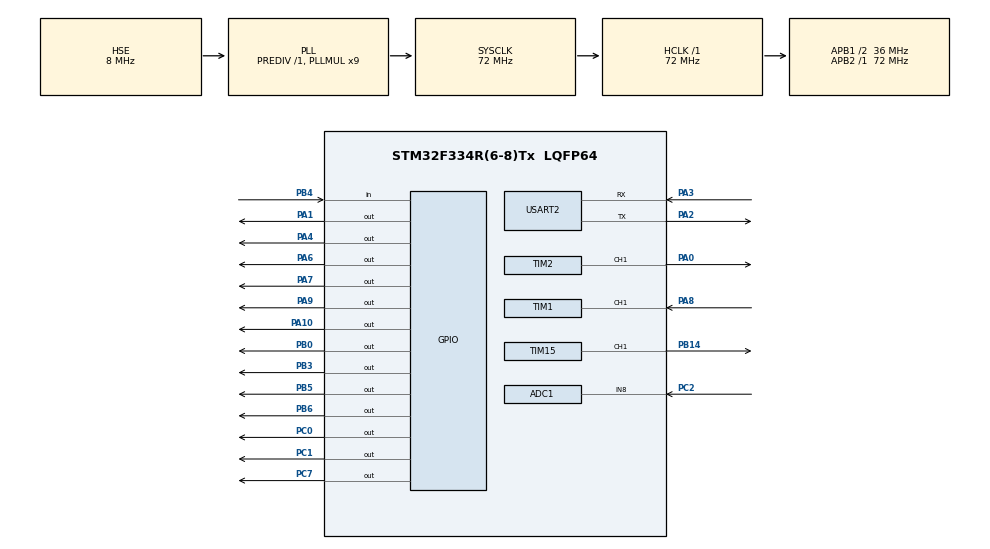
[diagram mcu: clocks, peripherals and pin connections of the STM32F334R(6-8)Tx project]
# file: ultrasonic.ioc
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ADC1.Channel-0\#ChannelRegularConversion=ADC_CHANNEL_8
ADC1.NbrOfConversionFlag=1
ADC1.Offset-0\#ChannelRegularConversion=0
ADC1.OffsetNumber-0\#ChannelRegularConversion=ADC_OFFSET_NONE
ADC1.Rank-0\#ChannelRegularConversion=1
ADC1.Resolution=ADC_RESOLUTION_6B
ADC1.SamplingTime-0\#ChannelRegularConversion=ADC_SAMPLETIME_1CYCLE_5
ADC1.SamplingTimeOPAMP-0\#ChannelRegularConversion=ADC_SAMPLETIME_61CYCLES_5
ADC1.SubFamily=STM32F334x8
ADC1.master=1
Mcu.Family=STM32F3
Mcu.Name=STM32F334R(6-8)Tx
Mcu.Package=LQFP64
NVIC.PriorityGroup=NVIC_PRIORITYGROUP_4
NVIC.TIM1_CC_IRQn=true\:0\:0\:false\:false\:true\:true\:true\:true
PA0.Signal=S_TIM2_CH1_ETR
PA1.Signal=GPIO_Output
PA10.Signal=GPIO_Output
PA13.Mode=Serial_Wire
PA13.Signal=SYS_JTMS-SWDIO
PA14.Mode=Serial_Wire
PA14.Signal=SYS_JTCK-SWCLK
PA2.Mode=Asynchronous
PA2.Signal=USART2_TX
PA3.Mode=Asynchronous
PA3.Signal=USART2_RX
PA4.Signal=GPIO_Output
PA6.Signal=GPIO_Output
PA7.Signal=GPIO_Output
PA8.Signal=S_TIM1_CH1
PA9.Signal=GPIO_Output
PB0.Signal=GPIO_Output
PB14.Signal=S_TIM15_CH1
PB3.Signal=GPIO_Output
PB4.Signal=GPIO_Input
PB5.Signal=GPIO_Output
PB6.Signal=GPIO_Output
PC0.Signal=GPIO_Output
PC1.Signal=GPIO_Output
PC2.Signal=ADCx_IN8
PC7.Signal=GPIO_Output
PF0\ /\ OSC_IN.Mode=HSE-External-Oscillator
PF0\ /\ OSC_IN.Signal=RCC_OSC_IN
PF1\ /\ OSC_OUT.Mode=HSE-External-Oscillator
PF1\ /\ OSC_OUT.Signal=RCC_OSC_OUT
ProjectManager.HeapSize=0x200
ProjectManager.StackSize=0x400
ProjectManager.TargetToolchain=STM32CubeIDE
RCC.AHBFreq_Value=72000000
RCC.APB1CLKDivider=RCC_HCLK_DIV2
RCC.APB1Freq_Value=36000000
RCC.APB1TimFreq_Value=72000000
RCC.APB2Freq_Value=72000000
RCC.APB2TimFreq_Value=72000000
RCC.CortexFreq_Value=72000000
RCC.HCLKFreq_Value=72000000
RCC.HSE_VALUE=8000000
RCC.HSI_VALUE=8000000
RCC.LSE_VALUE=32768
RCC.PLLMUL=RCC_PLL_MUL9
RCC.PLLSourceVirtual=RCC_PLLSOURCE_HSE
RCC.SYSCLKFreq_VALUE=72000000
RCC.SYSCLKSourceVirtual=RCC_SYSCLKSOURCE_PLLCLK
SH.ADCx_IN8.0=ADC1_IN8,IN8-Single-Ended
SH.S_TIM15_CH1.0=TIM15_CH1,PWM Generation1 CH1
SH.S_TIM1_CH1.0=TIM1_CH1,Input_Capture1_from_TI1
SH.S_TIM2_CH1_ETR.0=TIM2_CH1,PWM Generation1 CH1
TIM1.Channel-Input_Capture1_from_TI1=TIM_CHANNEL_1
TIM1.Prescaler=72-1
TIM15.Channel-PWM\ Generation1\ CH1=TIM_CHANNEL_1
TIM15.Period=16
TIM15.Prescaler=1
TIM2.Channel-PWM\ Generation1\ CH1=TIM_CHANNEL_1
TIM2.Period=2000
TIM2.Prescaler=1440
USART2.VirtualMode-Asynchronous=VM_ASYNC
VP_TIM15_VS_ClockSourceINT.Mode=Internal
VP_TIM2_VS_ClockSourceINT.Mode=Internal
board=custom

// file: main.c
/* USER CODE BEGIN Header */
/**
  ******************************************************************************
  * @file           : main.c
  * @brief          : Main program body
  ******************************************************************************
  * @attention
  *
  * Copyright (c) 2023 STMicroelectronics.
  * All rights reserved.
  *
  * This software is licensed under terms that can be found in the LICENSE file
  * in the root directory of this software component.
  * If no LICENSE file comes with this software, it is provided AS-IS.
  *
  ******************************************************************************
  */
/* USER CODE END Header */
#include "main.h"

/* USER CODE BEGIN PD */
#define A GPIOA
#define B GPIOB
#define C GPIOC

#define R_F GPIO_PIN_7 // PA7
#define R_B GPIO_PIN_6 // PA6

#define L_F GPIO_PIN_6	//PB6
#define L_B GPIO_PIN_7 //PC7

#define IR1 GPIO_PIN_10 //PB10
#define IR2 GPIO_PIN_4 //PB4

#define servo GPIO_PIN_0 //PA0

#define LED1L GPIO_PIN_1 //PA1
#define LED2L GPIO_PIN_4 //PA4
#define LED3L GPIO_PIN_0 //PB0
#define LED4L GPIO_PIN_1 //PC1

#define LED1R GPIO_PIN_5 //PC5
#define LED2R GPIO_PIN_3 //PB3
#define LED3R GPIO_PIN_10 //PA10
#define LED4R GPIO_PIN_0 //PC0

#define LDR GPIO_PIN_2 //pc2
/* USER CODE END PD */

ADC_HandleTypeDef hadc1;

TIM_HandleTypeDef htim1;
TIM_HandleTypeDef htim2;
TIM_HandleTypeDef htim15;

UART_HandleTypeDef huart2;

/* USER CODE BEGIN PV */
uint16_t lux=0;
char msg[20];
uint8_t IR_L,IR_R;
int i, distance_L, distance_R;
/* USER CODE END PV */

void SystemClock_Config(void);
static void MX_GPIO_Init(void);
static void MX_TIM1_Init(void);
static void MX_USART2_UART_Init(void);
static void MX_TIM2_Init(void);
static void MX_ADC1_Init(void);
static void MX_TIM15_Init(void);

/* USER CODE BEGIN 0 */
//void data(void){
//	uint8_t data=0;
//	HAL_UART_Transmit(&huart2, data, sizeof(data), 50);
//}

void delay(uint8_t time)
{
	__HAL_TIM_SET_COUNTER(&htim1, 0);
	while(__HAL_TIM_GET_COUNTER(&htim1) < time);
}

uint32_t IC_Val1 = 0;
uint32_t IC_Val2 = 0;
uint32_t Difference = 0;
uint8_t Is_First_Captured = 0;  // is the first value captured ?
uint8_t Distance  = 0;

#define TRIG_PIN GPIO_PIN_9
#define TRIG_PORT GPIOA

// Let's write the callback function

void HAL_TIM_IC_CaptureCallback(TIM_HandleTypeDef *htim)
{
	if (htim->Channel == HAL_TIM_ACTIVE_CHANNEL_1)  // if the interrupt source is channel1
	{
		if (Is_First_Captured==0) // if the first value is not captured
		{
			IC_Val1 = HAL_TIM_ReadCapturedValue(htim, TIM_CHANNEL_1); // read the first value
			Is_First_Captured = 1;  // set the first captured as true
			// Now change the polarity to falling edge
			__HAL_TIM_SET_CAPTUREPOLARITY(htim, TIM_CHANNEL_1, TIM_INPUTCHANNELPOLARITY_FALLING);

		}

		else if (Is_First_Captured==1)   // if the first is already captured
		{
			IC_Val2 = HAL_TIM_ReadCapturedValue(htim, TIM_CHANNEL_1);  // read second value
			__HAL_TIM_SET_COUNTER(htim, 0);  // reset the counter

			if (IC_Val2 > IC_Val1)
			{
				Difference = IC_Val2-IC_Val1;
			}

			else if (IC_Val1 > IC_Val2)
			{
				Difference = (0xffff - IC_Val1) + IC_Val2;
			}

			Distance = Difference * .034/2;
			Is_First_Captured = 0; // set it back to false

			// set polarity to rising edge
			__HAL_TIM_SET_CAPTUREPOLARITY(htim, TIM_CHANNEL_1, TIM_INPUTCHANNELPOLARITY_RISING);
			__HAL_TIM_DISABLE_IT(&htim1, TIM_IT_CC1);
		}
	}
}

void HCSR04_Read (void)
{
	HAL_GPIO_WritePin(TRIG_PORT, TRIG_PIN, GPIO_PIN_SET);  // pull the TRIG pin HIGH
	delay(10);  // wait for 10 us
	HAL_GPIO_WritePin(TRIG_PORT, TRIG_PIN, GPIO_PIN_RESET);  // pull the TRIG pin low

	__HAL_TIM_ENABLE_IT(&htim1, TIM_IT_CC1);
}

/* USER CODE END 0 */

int main(void)
{
  /* USER CODE BEGIN 1 */
	//htim2.Instance->CCR1 = 72;
  /* USER CODE END 1 */

  /* MCU Configuration--------------------------------------------------------*/

  /* Reset of all peripherals, Initializes the Flash interface and the Systick. */
  HAL_Init();

  /* Configure the system clock */
  SystemClock_Config();

  /* Initialize all configured peripherals */
  MX_GPIO_Init();
  MX_TIM1_Init();
  MX_USART2_UART_Init();
  MX_TIM2_Init();
  MX_ADC1_Init();
  MX_TIM15_Init();
  /* USER CODE BEGIN 2 */

  HAL_TIM_IC_Start_IT(&htim1, TIM_CHANNEL_1);
  HAL_TIM_PWM_Start(&htim2, TIM_CHANNEL_1);
  HAL_TIM_PWM_Start(&htim15, TIM_CHANNEL_1);
  /* USER CODE END 2 */

  /* Infinite loop */
  while (1)
  {

    /* USER CODE BEGIN 3 */
	  HCSR04_Read();
	  HAL_ADC_Start(&hadc1);
 	  HAL_ADC_PollForConversion(&hadc1, 20);
 	  lux = HAL_ADC_GetValue(&hadc1);
	  IR_L=HAL_GPIO_ReadPin(B, IR1);
	  IR_R=HAL_GPIO_ReadPin(B, IR2);
 	  __HAL_TIM_SET_COMPARE(&htim15, TIM_CHANNEL_1,lux);

	  if((IR_L==0)&&(IR_R==0)){
		  if(Distance>10){
			  front();
		  }else{
			  checkside();
		  }
	  }else if((IR_L==1)&&(IR_R==0)){
		  if(Distance>10){
		 			  left();
		 		  }else{
		 			 checkside();
		 		  }
	  }else if((IR_L==0)&&(IR_R==1)){
		  if(Distance>10){
		 			  right();
		 		  }else{
		 			 checkside();
		 		  }
	  }

	  sprintf(msg, "%d\r\n", lux);
	  HAL_UART_Transmit(&huart2, (uint8_t *)msg, sizeof(msg), 50);
	  HAL_Delay(200);
  }
  /* USER CODE END 3 */
}

void SystemClock_Config(void)
{
  RCC_OscInitTypeDef RCC_OscInitStruct = {0};
  RCC_ClkInitTypeDef RCC_ClkInitStruct = {0};
  RCC_PeriphCLKInitTypeDef PeriphClkInit = {0};

  /** Initializes the RCC Oscillators according to the specified parameters
  * in the RCC_OscInitTypeDef structure.
  */
  RCC_OscInitStruct.OscillatorType = RCC_OSCILLATORTYPE_HSE;
  RCC_OscInitStruct.HSEState = RCC_HSE_ON;
  RCC_OscInitStruct.HSEPredivValue = RCC_HSE_PREDIV_DIV1;
  RCC_OscInitStruct.HSIState = RCC_HSI_ON;
  RCC_OscInitStruct.PLL.PLLState = RCC_PLL_ON;
  RCC_OscInitStruct.PLL.PLLSource = RCC_PLLSOURCE_HSE;
  RCC_OscInitStruct.PLL.PLLMUL = RCC_PLL_MUL9;
  if (HAL_RCC_OscConfig(&RCC_OscInitStruct) != HAL_OK)
  {
    Error_Handler();
  }

  /** Initializes the CPU, AHB and APB buses clocks
  */
  RCC_ClkInitStruct.ClockType = RCC_CLOCKTYPE_HCLK|RCC_CLOCKTYPE_SYSCLK
                              |RCC_CLOCKTYPE_PCLK1|RCC_CLOCKTYPE_PCLK2;
  RCC_ClkInitStruct.SYSCLKSource = RCC_SYSCLKSOURCE_PLLCLK;
  RCC_ClkInitStruct.AHBCLKDivider = RCC_SYSCLK_DIV1;
  RCC_ClkInitStruct.APB1CLKDivider = RCC_HCLK_DIV2;
  RCC_ClkInitStruct.APB2CLKDivider = RCC_HCLK_DIV1;

  if (HAL_RCC_ClockConfig(&RCC_ClkInitStruct, FLASH_LATENCY_2) != HAL_OK)
  {
    Error_Handler();
  }
  PeriphClkInit.PeriphClockSelection = RCC_PERIPHCLK_TIM1|RCC_PERIPHCLK_ADC12;
  PeriphClkInit.Adc12ClockSelection = RCC_ADC12PLLCLK_DIV1;
  PeriphClkInit.Tim1ClockSelection = RCC_TIM1CLK_HCLK;
  if (HAL_RCCEx_PeriphCLKConfig(&PeriphClkInit) != HAL_OK)
  {
    Error_Handler();
  }
}

static void MX_ADC1_Init(void)
{

  ADC_MultiModeTypeDef multimode = {0};
  ADC_ChannelConfTypeDef sConfig = {0};

  /** Common config
  */
  hadc1.Instance = ADC1;
  hadc1.Init.ClockPrescaler = ADC_CLOCK_ASYNC_DIV1;
  hadc1.Init.Resolution = ADC_RESOLUTION_6B;
  hadc1.Init.ScanConvMode = ADC_SCAN_DISABLE;
  hadc1.Init.ContinuousConvMode = DISABLE;
  hadc1.Init.DiscontinuousConvMode = DISABLE;
  hadc1.Init.ExternalTrigConvEdge = ADC_EXTERNALTRIGCONVEDGE_NONE;
  hadc1.Init.ExternalTrigConv = ADC_SOFTWARE_START;
  hadc1.Init.DataAlign = ADC_DATAALIGN_RIGHT;
  hadc1.Init.NbrOfConversion = 1;
  hadc1.Init.DMAContinuousRequests = DISABLE;
  hadc1.Init.EOCSelection = ADC_EOC_SINGLE_CONV;
  hadc1.Init.LowPowerAutoWait = DISABLE;
  hadc1.Init.Overrun = ADC_OVR_DATA_OVERWRITTEN;
  if (HAL_ADC_Init(&hadc1) != HAL_OK)
  {
    Error_Handler();
  }

  /** Configure the ADC multi-mode
  */
  multimode.Mode = ADC_MODE_INDEPENDENT;
  if (HAL_ADCEx_MultiModeConfigChannel(&hadc1, &multimode) != HAL_OK)
  {
    Error_Handler();
  }

  /** Configure Regular Channel
  */
  sConfig.Channel = ADC_CHANNEL_8;
  sConfig.Rank = ADC_REGULAR_RANK_1;
  sConfig.SingleDiff = ADC_SINGLE_ENDED;
  sConfig.SamplingTime = ADC_SAMPLETIME_1CYCLE_5;
  sConfig.OffsetNumber = ADC_OFFSET_NONE;
  sConfig.Offset = 0;
  if (HAL_ADC_ConfigChannel(&hadc1, &sConfig) != HAL_OK)
  {
    Error_Handler();
  }

}

static void MX_TIM1_Init(void)
{

  TIM_MasterConfigTypeDef sMasterConfig = {0};
  TIM_IC_InitTypeDef sConfigIC = {0};

  htim1.Instance = TIM1;
  htim1.Init.Prescaler = 72-1;
  htim1.Init.CounterMode = TIM_COUNTERMODE_UP;
  htim1.Init.Period = 65535;
  htim1.Init.ClockDivision = TIM_CLOCKDIVISION_DIV1;
  htim1.Init.RepetitionCounter = 0;
  htim1.Init.AutoReloadPreload = TIM_AUTORELOAD_PRELOAD_DISABLE;
  if (HAL_TIM_IC_Init(&htim1) != HAL_OK)
  {
    Error_Handler();
  }
  sMasterConfig.MasterOutputTrigger = TIM_TRGO_RESET;
  sMasterConfig.MasterOutputTrigger2 = TIM_TRGO2_RESET;
  sMasterConfig.MasterSlaveMode = TIM_MASTERSLAVEMODE_DISABLE;
  if (HAL_TIMEx_MasterConfigSynchronization(&htim1, &sMasterConfig) != HAL_OK)
  {
    Error_Handler();
  }
  sConfigIC.ICPolarity = TIM_INPUTCHANNELPOLARITY_RISING;
  sConfigIC.ICSelection = TIM_ICSELECTION_DIRECTTI;
  sConfigIC.ICPrescaler = TIM_ICPSC_DIV1;
  sConfigIC.ICFilter = 0;
  if (HAL_TIM_IC_ConfigChannel(&htim1, &sConfigIC, TIM_CHANNEL_1) != HAL_OK)
  {
    Error_Handler();
  }

}

static void MX_TIM2_Init(void)
{

  TIM_ClockConfigTypeDef sClockSourceConfig = {0};
  TIM_MasterConfigTypeDef sMasterConfig = {0};
  TIM_OC_InitTypeDef sConfigOC = {0};

  htim2.Instance = TIM2;
  htim2.Init.Prescaler = 1440;
  htim2.Init.CounterMode = TIM_COUNTERMODE_UP;
  htim2.Init.Period = 2000;
  htim2.Init.ClockDivision = TIM_CLOCKDIVISION_DIV1;
  htim2.Init.AutoReloadPreload = TIM_AUTORELOAD_PRELOAD_DISABLE;
  if (HAL_TIM_Base_Init(&htim2) != HAL_OK)
  {
    Error_Handler();
  }
  sClockSourceConfig.ClockSource = TIM_CLOCKSOURCE_INTERNAL;
  if (HAL_TIM_ConfigClockSource(&htim2, &sClockSourceConfig) != HAL_OK)
  {
    Error_Handler();
  }
  if (HAL_TIM_PWM_Init(&htim2) != HAL_OK)
  {
    Error_Handler();
  }
  sMasterConfig.MasterOutputTrigger = TIM_TRGO_RESET;
  sMasterConfig.MasterSlaveMode = TIM_MASTERSLAVEMODE_DISABLE;
  if (HAL_TIMEx_MasterConfigSynchronization(&htim2, &sMasterConfig) != HAL_OK)
  {
    Error_Handler();
  }
  sConfigOC.OCMode = TIM_OCMODE_PWM1;
  sConfigOC.Pulse = 0;
  sConfigOC.OCPolarity = TIM_OCPOLARITY_HIGH;
  sConfigOC.OCFastMode = TIM_OCFAST_DISABLE;
  if (HAL_TIM_PWM_ConfigChannel(&htim2, &sConfigOC, TIM_CHANNEL_1) != HAL_OK)
  {
    Error_Handler();
  }
  HAL_TIM_MspPostInit(&htim2);

}

static void MX_TIM15_Init(void)
{

  TIM_ClockConfigTypeDef sClockSourceConfig = {0};
  TIM_MasterConfigTypeDef sMasterConfig = {0};
  TIM_OC_InitTypeDef sConfigOC = {0};
  TIM_BreakDeadTimeConfigTypeDef sBreakDeadTimeConfig = {0};

  htim15.Instance = TIM15;
  htim15.Init.Prescaler = 1;
  htim15.Init.CounterMode = TIM_COUNTERMODE_UP;
  htim15.Init.Period = 16;
  htim15.Init.ClockDivision = TIM_CLOCKDIVISION_DIV1;
  htim15.Init.RepetitionCounter = 0;
  htim15.Init.AutoReloadPreload = TIM_AUTORELOAD_PRELOAD_DISABLE;
  if (HAL_TIM_Base_Init(&htim15) != HAL_OK)
  {
    Error_Handler();
  }
  sClockSourceConfig.ClockSource = TIM_CLOCKSOURCE_INTERNAL;
  if (HAL_TIM_ConfigClockSource(&htim15, &sClockSourceConfig) != HAL_OK)
  {
    Error_Handler();
  }
  if (HAL_TIM_PWM_Init(&htim15) != HAL_OK)
  {
    Error_Handler();
  }
  sMasterConfig.MasterOutputTrigger = TIM_TRGO_RESET;
  sMasterConfig.MasterSlaveMode = TIM_MASTERSLAVEMODE_DISABLE;
  if (HAL_TIMEx_MasterConfigSynchronization(&htim15, &sMasterConfig) != HAL_OK)
  {
    Error_Handler();
  }
  sConfigOC.OCMode = TIM_OCMODE_PWM1;
  sConfigOC.Pulse = 0;
  sConfigOC.OCPolarity = TIM_OCPOLARITY_HIGH;
  sConfigOC.OCNPolarity = TIM_OCNPOLARITY_HIGH;
  sConfigOC.OCFastMode = TIM_OCFAST_DISABLE;
  sConfigOC.OCIdleState = TIM_OCIDLESTATE_RESET;
  sConfigOC.OCNIdleState = TIM_OCNIDLESTATE_RESET;
  if (HAL_TIM_PWM_ConfigChannel(&htim15, &sConfigOC, TIM_CHANNEL_1) != HAL_OK)
  {
    Error_Handler();
  }
  sBreakDeadTimeConfig.OffStateRunMode = TIM_OSSR_DISABLE;
  sBreakDeadTimeConfig.OffStateIDLEMode = TIM_OSSI_DISABLE;
  sBreakDeadTimeConfig.LockLevel = TIM_LOCKLEVEL_OFF;
  sBreakDeadTimeConfig.DeadTime = 0;
  sBreakDeadTimeConfig.BreakState = TIM_BREAK_DISABLE;
  sBreakDeadTimeConfig.BreakPolarity = TIM_BREAKPOLARITY_HIGH;
  sBreakDeadTimeConfig.BreakFilter = 0;
  sBreakDeadTimeConfig.AutomaticOutput = TIM_AUTOMATICOUTPUT_DISABLE;
  if (HAL_TIMEx_ConfigBreakDeadTime(&htim15, &sBreakDeadTimeConfig) != HAL_OK)
  {
    Error_Handler();
  }
  HAL_TIM_MspPostInit(&htim15);

}

static void MX_USART2_UART_Init(void)
{

  huart2.Instance = USART2;
  huart2.Init.BaudRate = 38400;
  huart2.Init.WordLength = UART_WORDLENGTH_8B;
  huart2.Init.StopBits = UART_STOPBITS_1;
  huart2.Init.Parity = UART_PARITY_NONE;
  huart2.Init.Mode = UART_MODE_TX_RX;
  huart2.Init.HwFlowCtl = UART_HWCONTROL_NONE;
  huart2.Init.OverSampling = UART_OVERSAMPLING_16;
  huart2.Init.OneBitSampling = UART_ONE_BIT_SAMPLE_DISABLE;
  huart2.AdvancedInit.AdvFeatureInit = UART_ADVFEATURE_NO_INIT;
  if (HAL_UART_Init(&huart2) != HAL_OK)
  {
    Error_Handler();
  }

}

static void MX_GPIO_Init(void)
{
  GPIO_InitTypeDef GPIO_InitStruct = {0};

  /* GPIO Ports Clock Enable */
  __HAL_RCC_GPIOF_CLK_ENABLE();
  __HAL_RCC_GPIOC_CLK_ENABLE();
  __HAL_RCC_GPIOA_CLK_ENABLE();
  __HAL_RCC_GPIOB_CLK_ENABLE();

  /*Configure GPIO pin Output Level */
  HAL_GPIO_WritePin(GPIOC, GPIO_PIN_0|GPIO_PIN_1|GPIO_PIN_7, GPIO_PIN_RESET);

  /*Configure GPIO pin Output Level */
  HAL_GPIO_WritePin(GPIOA, GPIO_PIN_1|GPIO_PIN_4|GPIO_PIN_6|GPIO_PIN_7
                          |GPIO_PIN_9|GPIO_PIN_10, GPIO_PIN_RESET);

  /*Configure GPIO pin Output Level */
  HAL_GPIO_WritePin(GPIOB, GPIO_PIN_0|GPIO_PIN_3|GPIO_PIN_5|GPIO_PIN_6, GPIO_PIN_RESET);

  /*Configure GPIO pins : PC0 PC1 PC7 */
  GPIO_InitStruct.Pin = GPIO_PIN_0|GPIO_PIN_1|GPIO_PIN_7;
  GPIO_InitStruct.Mode = GPIO_MODE_OUTPUT_PP;
  GPIO_InitStruct.Pull = GPIO_NOPULL;
  GPIO_InitStruct.Speed = GPIO_SPEED_FREQ_LOW;
  HAL_GPIO_Init(GPIOC, &GPIO_InitStruct);

  /*Configure GPIO pins : PA1 PA4 PA6 PA7
                           PA9 PA10 */
  GPIO_InitStruct.Pin = GPIO_PIN_1|GPIO_PIN_4|GPIO_PIN_6|GPIO_PIN_7
                          |GPIO_PIN_9|GPIO_PIN_10;
  GPIO_InitStruct.Mode = GPIO_MODE_OUTPUT_PP;
  GPIO_InitStruct.Pull = GPIO_NOPULL;
  GPIO_InitStruct.Speed = GPIO_SPEED_FREQ_LOW;
  HAL_GPIO_Init(GPIOA, &GPIO_InitStruct);

  /*Configure GPIO pins : PB0 PB3 PB5 PB6 */
  GPIO_InitStruct.Pin = GPIO_PIN_0|GPIO_PIN_3|GPIO_PIN_5|GPIO_PIN_6;
  GPIO_InitStruct.Mode = GPIO_MODE_OUTPUT_PP;
  GPIO_InitStruct.Pull = GPIO_NOPULL;
  GPIO_InitStruct.Speed = GPIO_SPEED_FREQ_LOW;
  HAL_GPIO_Init(GPIOB, &GPIO_InitStruct);

  /*Configure GPIO pin : PB4 */
  GPIO_InitStruct.Pin = GPIO_PIN_4;
  GPIO_InitStruct.Mode = GPIO_MODE_INPUT;
  GPIO_InitStruct.Pull = GPIO_NOPULL;
  HAL_GPIO_Init(GPIOB, &GPIO_InitStruct);

}

/* USER CODE BEGIN 4 */
void checkside(){
	stop();
	HCSR04_Read();
	for(i=72;i<=216;i++){
		htim2.Instance->CCR1 = i;
		HAL_Delay(50);
	}
	HAL_Delay(2000);
	distance_L = Distance;
	for(i=216;i>=18;i--){
		htim2.Instance->CCR1 = i;
		HAL_Delay(50);
	}
	HAL_Delay(2000);
	distance_R = Distance;
	for(i=18;i<=72;i++){
		htim2.Instance->CCR1 = i;
		HAL_Delay(50);
	}
	HAL_Delay(2000);
	compareDistance();
}
void compareDistance(){
	 if(distance_L > distance_R){
	  left();
	  HAL_Delay(500);
	  front();
	  HAL_Delay(600);
	  right();
	  HAL_Delay(500);
	  front();
	  HAL_Delay(600);
	  right();
	  HAL_Delay(400);
	  }
	  else{
	  right();
	  HAL_Delay(500);
	  front();
	  HAL_Delay(600);
	  left();
	  HAL_Delay(500);
	  front();
	  HAL_Delay(600);
	  left();
	  HAL_Delay(400);
	  }
}
void front(){
	HAL_GPIO_WritePin(A, R_F, 1);
	HAL_GPIO_WritePin(A, R_B, 0);
	HAL_GPIO_WritePin(B, L_F, 1);
	HAL_GPIO_WritePin(C, L_B, 0);
}

void stop(){

	HAL_GPIO_WritePin(A, R_F, 0);
	HAL_GPIO_WritePin(A, R_B, 0);
	HAL_GPIO_WritePin(B, L_F, 0);
	HAL_GPIO_WritePin(C, L_B, 0);
}

void left(){
	left_indicator();
	HAL_GPIO_WritePin(A, R_F, 1);
	HAL_GPIO_WritePin(A, R_B, 0);
	HAL_GPIO_WritePin(B, L_F, 0);
	HAL_GPIO_WritePin(C, L_B, 0);
}

void right(){
	right_indicator();
	HAL_GPIO_WritePin(A, R_F, 0);
	HAL_GPIO_WritePin(A, R_B, 0);
	HAL_GPIO_WritePin(B, L_F, 1);
	HAL_GPIO_WritePin(C, L_B, 0);
}

void left_indicator(){
	  HAL_GPIO_WritePin(GPIOA, LED1L, 1);
	  HAL_Delay(100);
	  HAL_GPIO_WritePin(GPIOA, LED2L, 1);
	  HAL_Delay(100);
	  HAL_GPIO_WritePin(GPIOB, LED3L, 1);
	  HAL_Delay(100);
	  HAL_GPIO_WritePin(GPIOC, LED4L, 1);
	  HAL_Delay(100);
	  HAL_GPIO_WritePin(GPIOA, LED1L, 0);
	  HAL_Delay(100);
	  HAL_GPIO_WritePin(GPIOA, LED2L, 0);
	  HAL_Delay(100);
	  HAL_GPIO_WritePin(GPIOB, LED3L, 0);
	  HAL_Delay(100);
	  HAL_GPIO_WritePin(GPIOC, LED4L, 0);
	  HAL_Delay(100);
}

void right_indicator(){
	  HAL_GPIO_WritePin(GPIOC, LED4R, 1);
	  HAL_Delay(100);
	  HAL_GPIO_WritePin(GPIOA, LED3R, 1);
	  HAL_Delay(100);
	  HAL_GPIO_WritePin(GPIOB, LED2R, 1);
	  HAL_Delay(100);
	  HAL_GPIO_WritePin(GPIOB, LED1R, 1);
	  HAL_Delay(100);
	  HAL_GPIO_WritePin(GPIOC, LED4R, 0);
	  HAL_Delay(100);
	  HAL_GPIO_WritePin(GPIOA, LED3R, 0);
	  HAL_Delay(100);
	  HAL_GPIO_WritePin(GPIOB, LED2R, 0);
	  HAL_Delay(100);
	  HAL_GPIO_WritePin(GPIOB, LED1R, 0);
	  HAL_Delay(100);
}
/* USER CODE END 4 */

void Error_Handler(void)
{
  __disable_irq();
  while (1)
  {
  }
}
